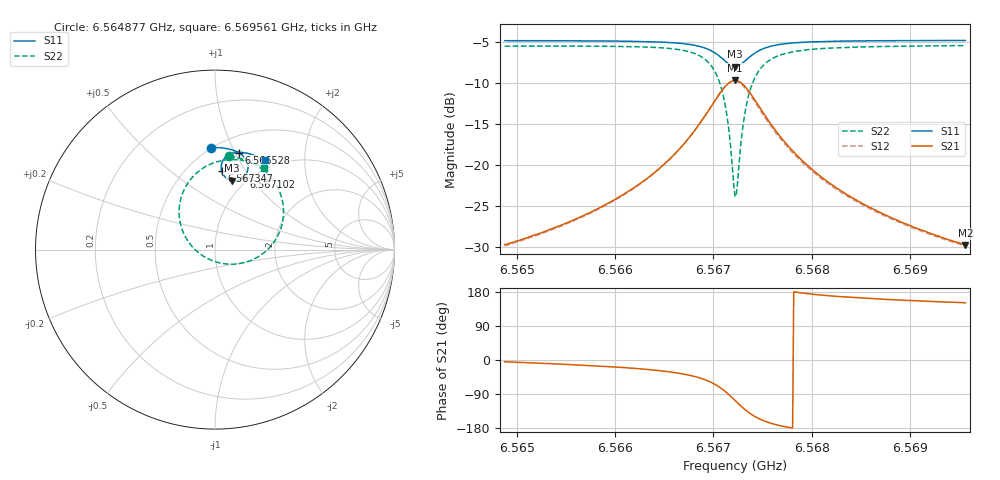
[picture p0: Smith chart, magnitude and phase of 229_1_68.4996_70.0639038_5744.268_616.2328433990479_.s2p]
#  HZ  S  RI  R  50.00
! Rohde & Schwarz Vector Network Analyzer
! Rohde-Schwarz,ZNB20-2Port,1311601062101988,3.16
! Created: UTC 3/20/2024, 5:13:58 PM
! freq[Hz]  re:S11  im:S11  re:S21  im:S21  re:S12  im:S12  re:S22  im:S22
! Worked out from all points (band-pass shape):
!   401 points, 6.564877 GHz to 6.569561 GHz, reference 50 ohm
!   highest |S21| = -9.74 dB at 6.567219 GHz (marker M1); lowest = -29.8 dB at 6.569561 GHz (marker M2)
!   |S21| within 3 dB of the highest: 6.566986 GHz to 6.567454 GHz (468.1 kHz wide, 0.00713 % of centre)
!   lowest |S11| = -8.1 dB at 6.567219 GHz (marker M3), VSWR 2.31, Z = 43.4 + j39.6 ohm
!   |S11| at or under -10 dB: nowhere
!   |S22| runs from -23.9 to -5.5 dB; largest |S21 - S12| = 0.017
!   S11 on the Smith chart (normalised r, x): 6.564877 GHz: 0.49, +0.83; 6.566528 GHz: 0.66, +1.03; 6.567102 GHz: 0.93, +0.94; 6.567347 GHz: 0.72, +0.78; 6.569561 GHz: 0.88, +1.29
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6.5648767e9  -0.0223 0.5686  0.0325 -0.00265  0.0318 -0.00314  0.0807 0.5206
6.5656612e9  0.0441 0.5659  0.0471 -0.0113  0.0463 -0.012  0.1613 0.5016
6.5660828e9  0.0837 0.5587  0.0619 -0.0224  0.0608 -0.0231  0.217 0.4773
6.5664458e9  0.1229 0.5448  0.0834 -0.0441  0.0823 -0.0453  0.2813 0.4326
6.5665278e9  0.1327 0.5396  0.0901 -0.0529  0.0888 -0.0541  0.2993 0.4151
6.566762e9  0.1635 0.514  0.1127 -0.0967  0.111 -0.0988  0.3565 0.3296
6.5669259e9  0.1822 0.4762  0.1213 -0.1628  0.118 -0.1666  0.3818 0.202
6.5670313e9  0.1807 0.4362  0.1002 -0.2332  0.0934 -0.238  0.3452 0.0683
6.5671015e9  0.1624 0.4053  0.0541 -0.2857  0.043 -0.2892  0.258 -0.0286
6.5671484e9  0.1391 0.389  0.00286 -0.3115  -0.0111 -0.3121  0.1622 -0.0727
6.5672069e9  0.1003 0.3831  -0.0771 -0.316  -0.0922 -0.3101  0.017 -0.0721
6.5672186e9  0.0923 0.3845  -0.0933 -0.3121  -0.1082 -0.3048  -0.0118 -0.0629
6.5672421e9  0.077 0.3899  -0.1243 -0.2995  -0.1379 -0.2897  -0.0651 -0.0363
6.5673006e9  0.0475 0.4152  -0.1837 -0.2473  -0.1918 -0.2336  -0.1616 0.0645
6.5673475e9  0.0364 0.4406  -0.2075 -0.197  -0.2111 -0.183  -0.1952 0.1562
6.5674411e9  0.0397 0.4853  -0.2092 -0.1112  -0.2071 -0.1004  -0.1836 0.3057
6.5675817e9  0.0673 0.5217  -0.1725 -0.0406  -0.1687 -0.0345  -0.1049 0.4244
6.5677573e9  0.1014 0.5382  -0.1301 -0.00555  -0.1268 -0.00254  -0.0172 0.4793
6.5680032e9  0.1383 0.5422  -0.0928 0.0102  -0.0904 0.0118  0.0649 0.5
6.5683545e9  0.1781 0.5371  -0.0639 0.0159  -0.0624 0.0167  0.1386 0.4992
6.5687878e9  0.2179 0.5254  -0.0451 0.0168  -0.0441 0.0172  0.1988 0.4862
6.5695606e9  0.2777 0.4986  -0.0283 0.0158  -0.0277 0.0159  0.2742 0.455
